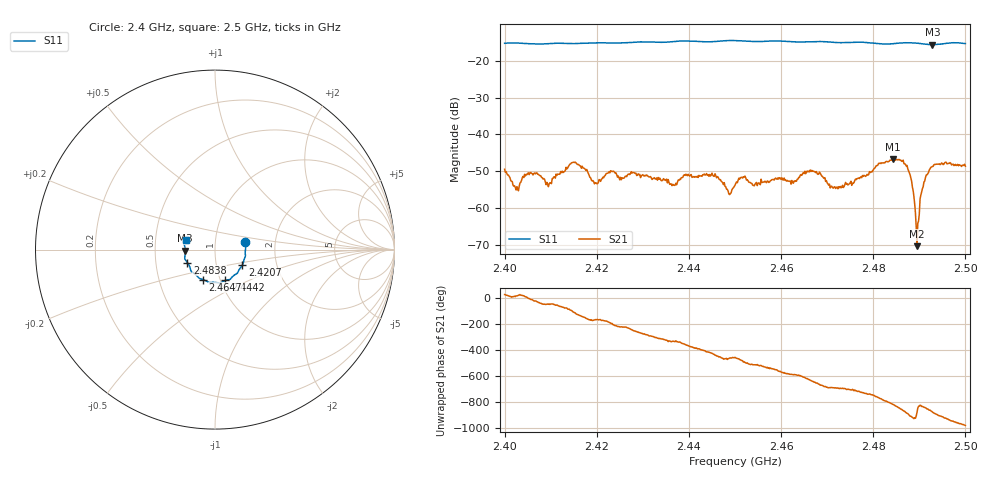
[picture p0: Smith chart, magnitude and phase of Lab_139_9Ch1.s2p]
# Hz S RI R 50
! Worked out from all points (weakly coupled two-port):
!   601 points, 2.4 GHz to 2.5 GHz, reference 50 ohm
!   highest |S21| = -46.68 dB at 2.4843 GHz (marker M1); lowest = -70.4 dB at 2.4895 GHz (marker M2)
!   lowest |S11| = -15.6 dB at 2.4928 GHz (marker M3), VSWR 1.40, Z = 35.8 - j0.392 ohm
!   |S11| at or under -10 dB: start of sweep to end of sweep
!   S12 and S22 are empty: the file has one direction only
!   S11 on the Smith chart (normalised r, x): 2.4 GHz: 1.40, +0.12; 2.4207 GHz: 1.33, -0.24; 2.4442 GHz: 1.05, -0.37; 2.4647 GHz: 0.83, -0.29; 2.4838 GHz: 0.73, -0.11; 2.5 GHz: 0.72, +0.08
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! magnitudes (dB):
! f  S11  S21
! 2.4 GHz  -15.2  -49.5
! 2.4027 GHz  -15.2  -54.2
! 2.4052 GHz  -15.3  -50.4
! 2.4095 GHz  -15.3  -54.2
! 2.4167 GHz  -15.2  -49.2
! 2.4207 GHz  -15.1  -52.5
! 2.4232 GHz  -15.2  -50.0
! 2.4333 GHz  -15.0  -51.7
! 2.4442 GHz  -14.9  -51.0
! 2.4487 GHz  -14.5  -56.2
! 2.45 GHz  -14.5  -53.8
! 2.4647 GHz  -14.9  -50.7
! 2.4667 GHz  -14.8  -49.8
! 2.4727 GHz  -15.1  -54.5
! 2.4833 GHz  -15.4  -47.4
! 2.4838 GHz  -15.4  -47.1
! 2.4843 GHz  -15.4  -46.7
! 2.4877 GHz  -15.1  -49.9
! 2.4895 GHz  -15.2  -70.4
! 2.491 GHz  -15.4  -53.0
! 2.4928 GHz  -15.6  -48.8
! 2.5 GHz  -15.3  -48.7
